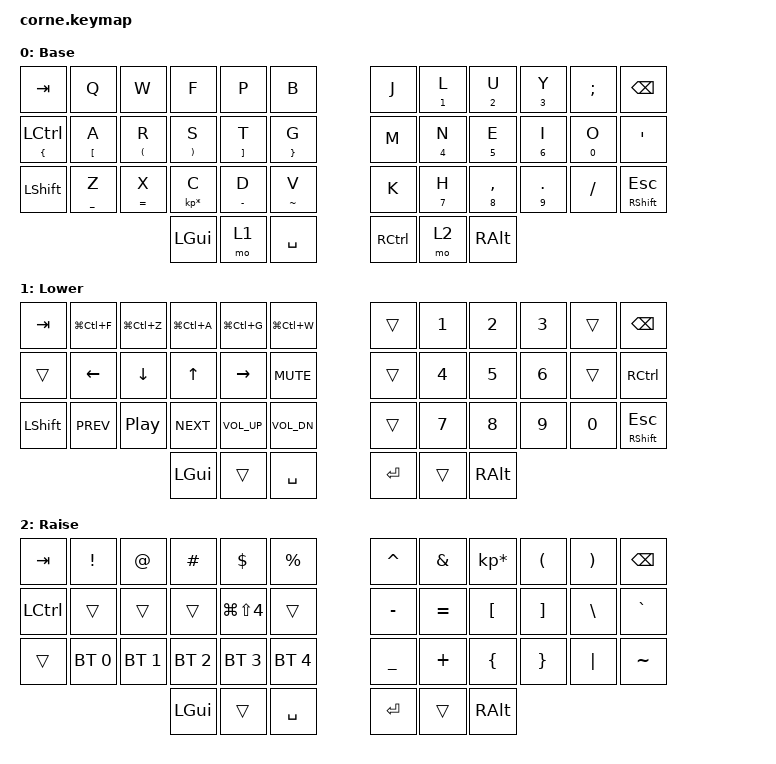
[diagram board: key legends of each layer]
/*
 * Copyright (c) 2020 The ZMK Contributors
 *
 * SPDX-License-Identifier: MIT
 */

#include <behaviors.dtsi>
#include <dt-bindings/zmk/keys.h>
#include <dt-bindings/zmk/bt.h>

/ {      
        behaviors {
                ht: hold_tap {
                        compatible = "zmk,behavior-hold-tap";
                        #binding-cells = <2>;
                        flavor = "tap-preferred";
                        tapping-term-ms = <250>;
                        quick-tap-ms = <150>;
                        require-prior-idle-ms = <125>;
                        bindings = <&kp>, <&kp>; 
                };
        };
        
        combos {
                compatible = "zmk,combos";
               
                l_parenthesis {
                bindings = <&kp LEFT_PARENTHESIS>;
                key-positions = <15 20>;
                require-prior-idle-ms = <150>;
                };

                r_parenthesis {
                bindings = <&kp RIGHT_PARENTHESIS>;
                key-positions = <14 21>;
                require-prior-idle-ms = <150>;
                };

                l_bracket {
                bindings = <&kp LEFT_BRACKET>;
                key-positions = <16 19>;
                require-prior-idle-ms = <150>;
                };

                r_bracket {
                bindings = <&kp RIGHT_BRACKET>;
                key-positions = <13 22>;
                require-prior-idle-ms = <150>;
                };

                l_brace {
                bindings = <&kp LEFT_BRACE>;
                key-positions = <17 18>;
                require-prior-idle-ms = <150>;
                };

                r_brace {
                bindings = <&kp RIGHT_BRACE>;
                key-positions = <12 23>;
                require-prior-idle-ms = <150>;
                };

                colon {
                bindings = <&kp COLON>;
                key-positions = <28 31>;
                require-prior-idle-ms = <150>;
                };

                equals {
                bindings = <&kp EQUAL>;
                key-positions = <27 32>;
                require-prior-idle-ms = <150>;
                };

                hash { 
                bindings = <&kp HASH>;
                key-positions = <26 33>;
                require-prior-idle-ms = <150>;
                };
        };

};

/ {
        keymap {
                compatible = "zmk,keymap";

                default_layer {
// -----------------------------------------------------------------------------------------
// |  TAB |  Q  |  W  |  F  |  P  |  B  |   |  J  |  L   |  U  |  Y  | ;  | BKSP |
// | CTRL |  A  |  R  |  S  |  T  |  G  |   |  M  |  N   |  E  |  I  |  O  |  '   |
// | SHFT |  Z  |  X  |  C  |  D  |  V  |   |  K  |  H   |  ,  |  .  |  /  | RSHIFT ESC |
//                    | GUI | LWR | SPC |   | CTRL | RSE  | ALT |
                        display-name = "Base";
                        bindings = <
   &kp TAB        &kp Q           &kp W         &kp F              &kp P            &kp B               &kp J &ht N1 L  &ht N2 U     &ht N3 Y   &kp SEMI           &kp BSPC
   &ht LBRC LCTRL &ht LBKT A      &ht LPAR R    &ht RPAR S         &ht RBKT T       &ht RBRC G          &kp M &ht N4 N  &ht N5 E     &ht N6 I   &ht N0 O           &kp SQT
   &kp LSHFT      &ht  UNDER Z    &ht EQUAL X   &ht KP_MULTIPLY C  &ht MINUS D      &ht TILDE V         &kp K &ht N7 H  &ht N8 COMMA &ht N9 DOT &kp FSLH           &ht RSHIFT ESC
                  &kp LGUI &mo 1 &kp SPACE                                                              &kp RCTRL &mo 2 &kp RALT
                        >;
                };
                lower_layer {

                        display-name = "Lower";
                        bindings = <
   &kp TAB    &kp LG(LC(F)) &kp LG(LC(Z)) &kp LG(LC(A)) &kp LG(LC(G)) &kp LG(LC(W))             &trans   &kp N1   &kp N2   &kp N3       &trans   &kp BSPC
   &trans     &kp LEFT     &kp DOWN     &kp UP          &kp RIGHT    &kp C_MUTE                 &trans   &kp N4   &kp N5   &kp N6       &trans   &kp RCTRL
   &kp LSHFT  &kp C_PREV   &kp C_PP     &kp C_NEXT      &kp C_VOL_UP &kp C_VOL_DN               &trans   &kp N7   &kp N8   &kp N9       &kp N0  &ht RSHIFT ESC
                          	        &kp LGUI        &trans       &kp SPACE                  &kp RET  &trans   &kp RALT
                        >;
                };

                raise_layer {

                        display-name = "Raise";
                        bindings = <
   &kp  TAB     &kp EXCL        &kp AT          &kp HASH        &kp DLLR        &kp PRCNT               &kp CARET &kp AMPS  &kp KP_MULTIPLY &kp LPAR &kp RPAR &kp BSPC
   &kp LCTRL    &trans          &trans          &trans          &kp LG(LS(N4))  &trans                  &kp MINUS &kp EQUAL &kp LBKT        &kp RBKT &kp BSLH &kp GRAVE
   &trans       &bt BT_SEL 0    &bt BT_SEL 1    &bt BT_SEL 2    &bt BT_SEL 3    &bt BT_SEL 4            &kp UNDER &kp PLUS  &kp LBRC        &kp RBRC &kp PIPE &kp TILDE
                    	     &kp LGUI &trans   &kp SPACE   &kp RET   &trans    &kp RALT
                        >;
                };
        };
};
